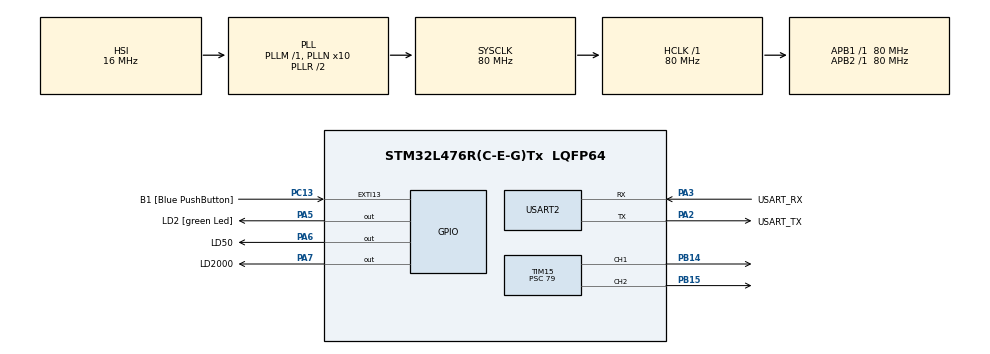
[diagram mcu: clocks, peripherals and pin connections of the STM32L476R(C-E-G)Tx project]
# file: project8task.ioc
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Mcu.Family=STM32L4
Mcu.Name=STM32L476R(C-E-G)Tx
Mcu.Package=LQFP64
NVIC.PriorityGroup=NVIC_PRIORITYGROUP_4
NVIC.TIM1_BRK_TIM15_IRQn=true\:3\:0\:true\:false\:true\:true\:true\:true
NVIC.TIM6_DAC_IRQn=true\:4\:0\:true\:false\:true\:true\:true\:true
NVIC.TIM7_IRQn=true\:4\:0\:true\:false\:true\:true\:true\:true
PA13\ (JTMS-SWDIO).GPIO_Label=TMS
PA13\ (JTMS-SWDIO).Mode=Serial_Wire
PA13\ (JTMS-SWDIO).Signal=SYS_JTMS-SWDIO
PA14\ (JTCK-SWCLK).GPIO_Label=TCK
PA14\ (JTCK-SWCLK).Mode=Serial_Wire
PA14\ (JTCK-SWCLK).Signal=SYS_JTCK-SWCLK
PA2.GPIO_Label=USART_TX
PA2.GPIO_Mode=GPIO_MODE_AF_PP
PA2.GPIO_PuPd=GPIO_NOPULL
PA2.GPIO_Speed=GPIO_SPEED_FREQ_VERY_HIGH
PA2.Mode=Asynchronous
PA2.Signal=USART2_TX
PA3.GPIO_Label=USART_RX
PA3.GPIO_Mode=GPIO_MODE_AF_PP
PA3.GPIO_PuPd=GPIO_NOPULL
PA3.GPIO_Speed=GPIO_SPEED_FREQ_VERY_HIGH
PA3.Mode=Asynchronous
PA3.Signal=USART2_RX
PA5.GPIO_Label=LD2 [green Led]
PA5.GPIO_ModeDefaultOutputPP=GPIO_MODE_OUTPUT_PP
PA5.GPIO_PuPd=GPIO_NOPULL
PA5.GPIO_Speed=GPIO_SPEED_FREQ_LOW
PA5.Signal=GPIO_Output
PA6.GPIO_Label=LD50
PA6.Signal=GPIO_Output
PA7.GPIO_Label=LD2000
PA7.Signal=GPIO_Output
PB14.Signal=S_TIM15_CH1
PB15.Signal=S_TIM15_CH2
PB3\ (JTDO-TRACESWO).GPIO_Label=SWO
PB3\ (JTDO-TRACESWO).Signal=SYS_JTDO-SWO
PC13.GPIO_Label=B1 [Blue PushButton]
PC13.GPIO_ModeDefaultEXTI=GPIO_MODE_IT_FALLING
PC13.GPIO_PuPd=GPIO_NOPULL
PC13.Signal=GPXTI13
PC14-OSC32_IN\ (PC14).Mode=LSE-External-Oscillator
PC14-OSC32_IN\ (PC14).Signal=RCC_OSC32_IN
PC15-OSC32_OUT\ (PC15).Mode=LSE-External-Oscillator
PC15-OSC32_OUT\ (PC15).Signal=RCC_OSC32_OUT
PH0-OSC_IN\ (PH0).Signal=RCC_OSC_IN
PH1-OSC_OUT\ (PH1).Signal=RCC_OSC_OUT
ProjectManager.HeapSize=0x200
ProjectManager.StackSize=0x400
ProjectManager.TargetToolchain=STM32CubeIDE
RCC.ADCFreq_Value=64000000
RCC.AHBFreq_Value=80000000
RCC.APB1Freq_Value=80000000
RCC.APB1TimFreq_Value=80000000
RCC.APB2Freq_Value=80000000
RCC.APB2TimFreq_Value=80000000
RCC.CortexFreq_Value=80000000
RCC.HCLKFreq_Value=80000000
RCC.HSE_VALUE=8000000
RCC.HSI_VALUE=16000000
RCC.MSI_VALUE=4000000
RCC.PLLN=10
RCC.PLLSourceVirtual=RCC_PLLSOURCE_HSI
RCC.PREFETCH_ENABLE=1
RCC.SYSCLKFreq_VALUE=80000000
RCC.SYSCLKSource=RCC_SYSCLKSOURCE_PLLCLK
RCC.USBFreq_Value=64000000
RCC.VCOOutputFreq_Value=160000000
SH.S_TIM15_CH1.0=TIM15_CH1,PWM Generation1 CH1
SH.S_TIM15_CH2.0=TIM15_CH2,PWM Generation2 CH2
TIM15.Channel-PWM\ Generation1\ CH1=TIM_CHANNEL_1
TIM15.Channel-PWM\ Generation2\ CH2=TIM_CHANNEL_2
TIM15.OCMode_PWM-PWM\ Generation2\ CH2=TIM_OCMODE_PWM1
TIM15.Period=9999
TIM15.Prescaler=79
TIM15.Pulse-PWM\ Generation1\ CH1=400
TIM15.Pulse-PWM\ Generation2\ CH2=400
TIM6.Period=499
TIM6.Prescaler=7999
TIM7.Period=9999
TIM7.Prescaler=15999
USART2.VirtualMode-Asynchronous=VM_ASYNC
VP_TIM15_VS_ClockSourceINT.Mode=Internal
VP_TIM6_VS_ClockSourceINT.Mode=Enable_Timer
VP_TIM7_VS_ClockSourceINT.Mode=Enable_Timer
board=NUCLEO-L476RG

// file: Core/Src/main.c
/* USER CODE BEGIN Header */
/**
  ******************************************************************************
  * @file           : main.c
  * @brief          : Main program body
  ******************************************************************************
  * @attention
  *
  * Copyright (c) 2024 STMicroelectronics.
  * All rights reserved.
  *
  * This software is licensed under terms that can be found in the LICENSE file
  * in the root directory of this software component.
  * If no LICENSE file comes with this software, it is provided AS-IS.
  *
  ******************************************************************************
  */
/* USER CODE END Header */
#include "main.h"

TIM_HandleTypeDef htim6;
TIM_HandleTypeDef htim7;
TIM_HandleTypeDef htim15;

UART_HandleTypeDef huart2;

void SystemClock_Config(void);
static void MX_GPIO_Init(void);
static void MX_USART2_UART_Init(void);
static void MX_TIM6_Init(void);
static void MX_TIM7_Init(void);
static void MX_TIM15_Init(void);

int main(void)
{

  /* MCU Configuration--------------------------------------------------------*/

  /* Reset of all peripherals, Initializes the Flash interface and the Systick. */
  HAL_Init();

  /* Configure the system clock */
  SystemClock_Config();

  /* Initialize all configured peripherals */
  MX_GPIO_Init();
  MX_USART2_UART_Init();
  MX_TIM6_Init();
  MX_TIM7_Init();
  MX_TIM15_Init();

  /* Infinite loop */
  /* USER CODE BEGIN WHILE */
  HAL_TIM_Base_Start_IT(&htim6);
  HAL_TIM_Base_Start_IT(&htim7);
  HAL_TIM_Base_Start_IT(&htim15);
  HAL_TIM_PWM_Start(&htim15, TIM_CHANNEL_1);
  HAL_TIM_PWM_Start(&htim15, TIM_CHANNEL_2);

  uint16_t pwm = 50;
  int8_t mode = 50;
  while (1)
  {
	 __HAL_TIM_SET_COMPARE(&htim15,TIM_CHANNEL_1,(10000 - pwm));
	 __HAL_TIM_SET_COMPARE(&htim15,TIM_CHANNEL_2,pwm);
	 pwm += mode;
	 if(pwm >= 10000 ) {
		 mode = -50;
	 } else if(pwm <= 0) {
		 mode = 50;
	 }
	 HAL_Delay(10);

    /* USER CODE END WHILE */

  }
}

void SystemClock_Config(void)
{
  RCC_OscInitTypeDef RCC_OscInitStruct = {0};
  RCC_ClkInitTypeDef RCC_ClkInitStruct = {0};

  /** Configure the main internal regulator output voltage
  */
  if (HAL_PWREx_ControlVoltageScaling(PWR_REGULATOR_VOLTAGE_SCALE1) != HAL_OK)
  {
    Error_Handler();
  }

  /** Initializes the RCC Oscillators according to the specified parameters
  * in the RCC_OscInitTypeDef structure.
  */
  RCC_OscInitStruct.OscillatorType = RCC_OSCILLATORTYPE_HSI;
  RCC_OscInitStruct.HSIState = RCC_HSI_ON;
  RCC_OscInitStruct.HSICalibrationValue = RCC_HSICALIBRATION_DEFAULT;
  RCC_OscInitStruct.PLL.PLLState = RCC_PLL_ON;
  RCC_OscInitStruct.PLL.PLLSource = RCC_PLLSOURCE_HSI;
  RCC_OscInitStruct.PLL.PLLM = 1;
  RCC_OscInitStruct.PLL.PLLN = 10;
  RCC_OscInitStruct.PLL.PLLP = RCC_PLLP_DIV7;
  RCC_OscInitStruct.PLL.PLLQ = RCC_PLLQ_DIV2;
  RCC_OscInitStruct.PLL.PLLR = RCC_PLLR_DIV2;
  if (HAL_RCC_OscConfig(&RCC_OscInitStruct) != HAL_OK)
  {
    Error_Handler();
  }

  /** Initializes the CPU, AHB and APB buses clocks
  */
  RCC_ClkInitStruct.ClockType = RCC_CLOCKTYPE_HCLK|RCC_CLOCKTYPE_SYSCLK
                              |RCC_CLOCKTYPE_PCLK1|RCC_CLOCKTYPE_PCLK2;
  RCC_ClkInitStruct.SYSCLKSource = RCC_SYSCLKSOURCE_PLLCLK;
  RCC_ClkInitStruct.AHBCLKDivider = RCC_SYSCLK_DIV1;
  RCC_ClkInitStruct.APB1CLKDivider = RCC_HCLK_DIV1;
  RCC_ClkInitStruct.APB2CLKDivider = RCC_HCLK_DIV1;

  if (HAL_RCC_ClockConfig(&RCC_ClkInitStruct, FLASH_LATENCY_4) != HAL_OK)
  {
    Error_Handler();
  }
}

static void MX_TIM6_Init(void)
{

  TIM_MasterConfigTypeDef sMasterConfig = {0};

  htim6.Instance = TIM6;
  htim6.Init.Prescaler = 7999;
  htim6.Init.CounterMode = TIM_COUNTERMODE_UP;
  htim6.Init.Period = 499;
  htim6.Init.AutoReloadPreload = TIM_AUTORELOAD_PRELOAD_DISABLE;
  if (HAL_TIM_Base_Init(&htim6) != HAL_OK)
  {
    Error_Handler();
  }
  sMasterConfig.MasterOutputTrigger = TIM_TRGO_RESET;
  sMasterConfig.MasterSlaveMode = TIM_MASTERSLAVEMODE_DISABLE;
  if (HAL_TIMEx_MasterConfigSynchronization(&htim6, &sMasterConfig) != HAL_OK)
  {
    Error_Handler();
  }

}

static void MX_TIM7_Init(void)
{

  TIM_MasterConfigTypeDef sMasterConfig = {0};

  htim7.Instance = TIM7;
  htim7.Init.Prescaler = 15999;
  htim7.Init.CounterMode = TIM_COUNTERMODE_UP;
  htim7.Init.Period = 9999;
  htim7.Init.AutoReloadPreload = TIM_AUTORELOAD_PRELOAD_DISABLE;
  if (HAL_TIM_Base_Init(&htim7) != HAL_OK)
  {
    Error_Handler();
  }
  sMasterConfig.MasterOutputTrigger = TIM_TRGO_RESET;
  sMasterConfig.MasterSlaveMode = TIM_MASTERSLAVEMODE_DISABLE;
  if (HAL_TIMEx_MasterConfigSynchronization(&htim7, &sMasterConfig) != HAL_OK)
  {
    Error_Handler();
  }

}

static void MX_TIM15_Init(void)
{

  TIM_ClockConfigTypeDef sClockSourceConfig = {0};
  TIM_MasterConfigTypeDef sMasterConfig = {0};
  TIM_OC_InitTypeDef sConfigOC = {0};
  TIM_BreakDeadTimeConfigTypeDef sBreakDeadTimeConfig = {0};

  htim15.Instance = TIM15;
  htim15.Init.Prescaler = 79;
  htim15.Init.CounterMode = TIM_COUNTERMODE_UP;
  htim15.Init.Period = 9999;
  htim15.Init.ClockDivision = TIM_CLOCKDIVISION_DIV1;
  htim15.Init.RepetitionCounter = 0;
  htim15.Init.AutoReloadPreload = TIM_AUTORELOAD_PRELOAD_DISABLE;
  if (HAL_TIM_Base_Init(&htim15) != HAL_OK)
  {
    Error_Handler();
  }
  sClockSourceConfig.ClockSource = TIM_CLOCKSOURCE_INTERNAL;
  if (HAL_TIM_ConfigClockSource(&htim15, &sClockSourceConfig) != HAL_OK)
  {
    Error_Handler();
  }
  if (HAL_TIM_PWM_Init(&htim15) != HAL_OK)
  {
    Error_Handler();
  }
  sMasterConfig.MasterOutputTrigger = TIM_TRGO_RESET;
  sMasterConfig.MasterSlaveMode = TIM_MASTERSLAVEMODE_DISABLE;
  if (HAL_TIMEx_MasterConfigSynchronization(&htim15, &sMasterConfig) != HAL_OK)
  {
    Error_Handler();
  }
  sConfigOC.OCMode = TIM_OCMODE_PWM1;
  sConfigOC.Pulse = 400;
  sConfigOC.OCPolarity = TIM_OCPOLARITY_HIGH;
  sConfigOC.OCNPolarity = TIM_OCNPOLARITY_HIGH;
  sConfigOC.OCFastMode = TIM_OCFAST_DISABLE;
  sConfigOC.OCIdleState = TIM_OCIDLESTATE_RESET;
  sConfigOC.OCNIdleState = TIM_OCNIDLESTATE_RESET;
  if (HAL_TIM_PWM_ConfigChannel(&htim15, &sConfigOC, TIM_CHANNEL_1) != HAL_OK)
  {
    Error_Handler();
  }
  if (HAL_TIM_PWM_ConfigChannel(&htim15, &sConfigOC, TIM_CHANNEL_2) != HAL_OK)
  {
    Error_Handler();
  }
  sBreakDeadTimeConfig.OffStateRunMode = TIM_OSSR_DISABLE;
  sBreakDeadTimeConfig.OffStateIDLEMode = TIM_OSSI_DISABLE;
  sBreakDeadTimeConfig.LockLevel = TIM_LOCKLEVEL_OFF;
  sBreakDeadTimeConfig.DeadTime = 0;
  sBreakDeadTimeConfig.BreakState = TIM_BREAK_DISABLE;
  sBreakDeadTimeConfig.BreakPolarity = TIM_BREAKPOLARITY_HIGH;
  sBreakDeadTimeConfig.AutomaticOutput = TIM_AUTOMATICOUTPUT_DISABLE;
  if (HAL_TIMEx_ConfigBreakDeadTime(&htim15, &sBreakDeadTimeConfig) != HAL_OK)
  {
    Error_Handler();
  }
  HAL_TIM_MspPostInit(&htim15);

}

static void MX_USART2_UART_Init(void)
{

  huart2.Instance = USART2;
  huart2.Init.BaudRate = 115200;
  huart2.Init.WordLength = UART_WORDLENGTH_8B;
  huart2.Init.StopBits = UART_STOPBITS_1;
  huart2.Init.Parity = UART_PARITY_NONE;
  huart2.Init.Mode = UART_MODE_TX_RX;
  huart2.Init.HwFlowCtl = UART_HWCONTROL_NONE;
  huart2.Init.OverSampling = UART_OVERSAMPLING_16;
  huart2.Init.OneBitSampling = UART_ONE_BIT_SAMPLE_DISABLE;
  huart2.AdvancedInit.AdvFeatureInit = UART_ADVFEATURE_NO_INIT;
  if (HAL_UART_Init(&huart2) != HAL_OK)
  {
    Error_Handler();
  }

}

static void MX_GPIO_Init(void)
{
  GPIO_InitTypeDef GPIO_InitStruct = {0};

  /* GPIO Ports Clock Enable */
  __HAL_RCC_GPIOC_CLK_ENABLE();
  __HAL_RCC_GPIOH_CLK_ENABLE();
  __HAL_RCC_GPIOA_CLK_ENABLE();
  __HAL_RCC_GPIOB_CLK_ENABLE();

  /*Configure GPIO pin Output Level */
  HAL_GPIO_WritePin(GPIOA, LD2_Pin|LD50_Pin|LD2000_Pin, GPIO_PIN_RESET);

  /*Configure GPIO pin : B1_Pin */
  GPIO_InitStruct.Pin = B1_Pin;
  GPIO_InitStruct.Mode = GPIO_MODE_IT_FALLING;
  GPIO_InitStruct.Pull = GPIO_NOPULL;
  HAL_GPIO_Init(B1_GPIO_Port, &GPIO_InitStruct);

  /*Configure GPIO pins : LD2_Pin LD50_Pin LD2000_Pin */
  GPIO_InitStruct.Pin = LD2_Pin|LD50_Pin|LD2000_Pin;
  GPIO_InitStruct.Mode = GPIO_MODE_OUTPUT_PP;
  GPIO_InitStruct.Pull = GPIO_NOPULL;
  GPIO_InitStruct.Speed = GPIO_SPEED_FREQ_LOW;
  HAL_GPIO_Init(GPIOA, &GPIO_InitStruct);

}

void Error_Handler(void)
{
  __disable_irq();
  while (1)
  {
  }
}
